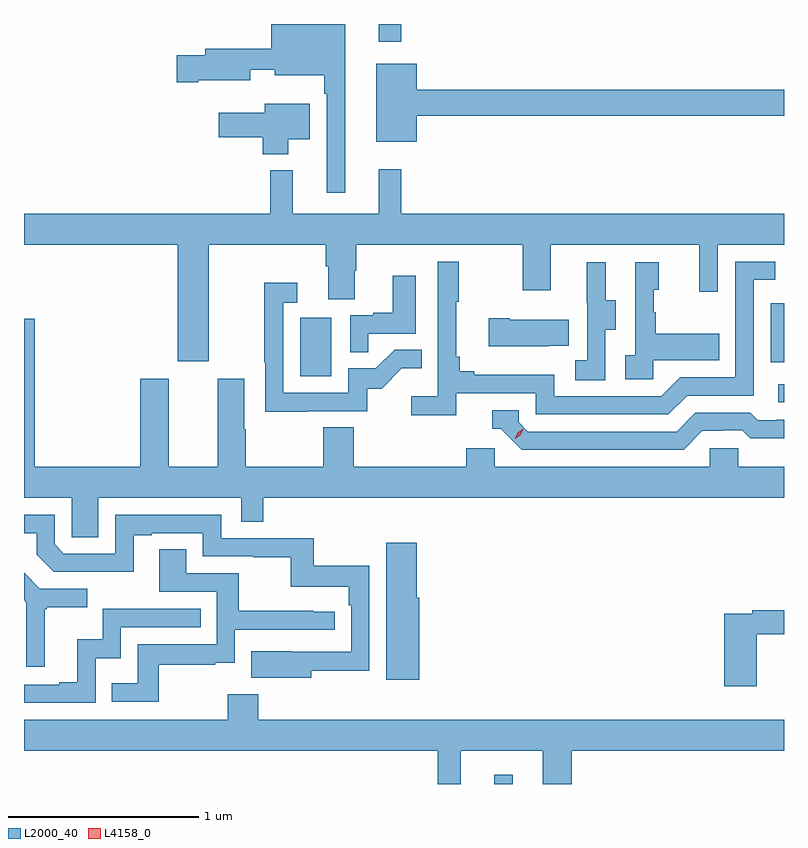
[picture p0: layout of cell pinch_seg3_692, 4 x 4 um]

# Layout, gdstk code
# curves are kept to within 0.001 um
import gdstk
lib = gdstk.Library(unit=1e-6, precision=1e-09)
def R(c, l, rs):  # rectangles x0, y0, x1, y1
    for r in rs: c.add(gdstk.rectangle(r[:2], r[2:], *l))
def P(c, l, *ps):  # polygons
    for p in ps: c.add(gdstk.Polygon(p, *l))
L2000_40 = (2000, 40)
L4158_0 = (4158, 0)

pinch_seg3_692 = lib.new_cell('pinch_seg3_692')
R(pinch_seg3_692, L2000_40, [(1104.068,680.762,1104.166,680.812), (1105.563,682.77,1105.594,682.866), (1103.048,682.908,1103.212,683.215), (1105.524,682.983,1105.594,683.292), (1103.462,684.669,1103.579,684.762)])
P(pinch_seg3_692, L2000_40, [(1103.284,684.76),(1103.023,684.76),(1103.023,684.762),(1102.894,684.762),(1102.894,684.631),(1102.547,684.631),(1102.547,684.597),(1102.398,684.597),(1102.398,684.455),(1102.51,684.455),(1102.51,684.467),(1102.786,684.467),(1102.786,684.521),(1102.913,684.521),(1102.913,684.491),(1103.175,684.491),(1103.175,684.395),(1103.187,684.395),(1103.187,683.874),(1103.284,683.874)],
  [(1103.662,684.28),(1105.594,684.28),(1105.594,684.416),(1103.662,684.416),(1103.662,684.553),(1103.447,684.553),(1103.447,684.143),(1103.662,684.143)],
  [(1102.984,684.155),(1103.098,684.155),(1103.098,684.343),(1102.862,684.343),(1102.862,684.295),(1102.62,684.295),(1102.62,684.166),(1102.85,684.166),(1102.85,684.077),(1102.984,684.077)],
  [(1102.567,683.6),(1103.183,683.6),(1103.183,683.488),(1103.195,683.488),(1103.195,683.314),(1103.335,683.314),(1103.335,683.463),(1103.343,683.463),(1103.343,683.6),(1104.22,683.6),(1104.22,683.361),(1104.367,683.361),(1104.367,683.6),(1105.148,683.6),(1105.148,683.352),(1105.245,683.352),(1105.245,683.6),(1105.594,683.6),(1105.594,683.764),(1103.579,683.764),(1103.579,683.998),(1103.462,683.998),(1103.462,683.764),(1103.009,683.764),(1103.009,683.992),(1102.891,683.992),(1102.891,683.764),(1101.594,683.764),(1101.594,683.6),(1102.403,683.6),(1102.403,682.986),(1102.567,682.986)],
  [(1103.87,682.818),(1104.288,682.818),(1104.288,682.707),(1104.985,682.707),(1105.084,682.806),(1105.434,682.806),(1105.434,683.415),(1105.547,683.415),(1105.547,683.511),(1105.338,683.511),(1105.338,682.902),(1105.047,682.902),(1104.948,682.803),(1104.384,682.803),(1104.384,682.915),(1103.965,682.915),(1103.965,682.934),(1103.888,682.934),(1103.888,683.011),(1103.869,683.011),(1103.869,683.299),(1103.881,683.299),(1103.881,683.512),(1103.772,683.512),(1103.772,682.804),(1103.631,682.804),(1103.631,682.702),(1103.87,682.702)],
  [(1104.654,683.152),(1104.709,683.152),(1104.709,683.307),(1104.655,683.307),(1104.655,683.509),(1104.557,683.509),(1104.557,683.295),(1104.558,683.295),(1104.558,682.991),(1104.495,682.991),(1104.495,682.888),(1104.654,682.888)],
  [(1104.906,682.991),(1105.253,682.991),(1105.253,683.131),(1104.919,683.131),(1104.919,683.246),(1104.909,683.246),(1104.909,683.364),(1104.934,683.364),(1104.934,683.509),(1104.81,683.509),(1104.81,683.018),(1104.759,683.018),(1104.759,682.893),(1104.906,682.893)],
  [(1103.405,683.133),(1103.656,683.133),(1103.656,683.437),(1103.534,683.437),(1103.534,683.242),(1103.431,683.242),(1103.431,683.229),(1103.31,683.229),(1103.31,683.035),(1103.405,683.035)],
  [(1103.081,682.725),(1103.4,682.725),(1103.4,682.842),(1103.476,682.842),(1103.583,682.949),(1103.687,682.949),(1103.687,683.048),(1103.544,683.048),(1103.446,682.95),(1103.301,682.95),(1103.301,682.821),(1102.959,682.821),(1102.959,683.295),(1103.032,683.295),(1103.032,683.401),(1102.858,683.401),(1102.858,682.981),(1102.863,682.981),(1102.863,682.72),(1103.081,682.72)],
  [(1104.353,683.069),(1104.461,683.069),(1104.461,683.206),(1104.151,683.206),(1104.151,683.214),(1104.039,683.214),(1104.039,683.066),(1104.353,683.066)],
  [(1101.985,682.268),(1102.737,682.268),(1102.737,682.141),(1102.853,682.141),(1102.853,682.268),(1105.594,682.268),(1105.594,682.432),(1105.353,682.432),(1105.353,682.53),(1105.203,682.53),(1105.203,682.432),(1104.072,682.432),(1104.072,682.53),(1103.921,682.53),(1103.921,682.432),(1103.33,682.432),(1103.33,682.64),(1103.17,682.64),(1103.17,682.432),(1102.761,682.432),(1102.761,682.628),(1102.753,682.628),(1102.753,682.894),(1102.613,682.894),(1102.613,682.432),(1102.357,682.432),(1102.357,682.894),(1102.205,682.894),(1102.205,682.432),(1101.65,682.432),(1101.65,683.212),(1101.594,683.212),(1101.594,682.268),(1101.846,682.268),(1101.846,682.06),(1101.985,682.06)],
  [(1105.165,682.62),(1105.272,682.62),(1105.272,682.623),(1105.375,682.623),(1105.417,682.581),(1105.594,682.581),(1105.594,682.68),(1105.555,682.68),(1105.555,682.677),(1105.456,682.677),(1105.417,682.716),(1105.128,682.716),(1105.029,682.617),(1104.246,682.617),(1104.198,682.665),(1104.198,682.728),(1104.059,682.728),(1104.059,682.632),(1104.102,682.632),(1104.213,682.521),(1105.066,682.521)],
  [(1103.107,681.358),(1103.412,681.358),(1103.412,681.91),(1103.119,681.91),(1103.119,682.056),(1102.632,682.056),(1102.632,682.179),(1102.074,682.179),(1102.074,681.975),(1101.804,681.975),(1101.756,682.023),(1101.756,682.179),(1101.594,682.179),(1101.594,682.083),(1101.66,682.083),(1101.66,681.969),(1101.75,681.879),(1102.171,681.878),(1102.171,682.071),(1102.267,682.071),(1102.267,682.083),(1102.536,682.083),(1102.536,681.96),(1102.801,681.96),(1102.801,681.955),(1102.998,681.955),(1102.998,681.8),(1103.303,681.8),(1103.303,681.704),(1103.316,681.704),(1103.316,681.459),(1102.789,681.46),(1102.789,681.32),(1103.107,681.32)],
  [(1103.674,681.741),(1103.662,681.741),(1103.662,682.033),(1103.501,682.033),(1103.501,681.312),(1103.674,681.312)],
  [(1102.303,681.39),(1102.601,681.39),(1102.601,681.401),(1102.704,681.401),(1102.704,681.573),(1103.23,681.573),(1103.23,681.669),(1103.117,681.669),(1103.117,681.674),(1102.724,681.674),(1102.724,681.87),(1102.447,681.87),(1102.447,681.998),(1102.307,681.998),(1102.307,681.774),(1102.608,681.774),(1102.608,681.498),(1102.192,681.498),(1102.192,681.292),(1102.057,681.292),(1102.057,681.195),(1102.303,681.195)],
  [(1101.703,681.681),(1101.715,681.681),(1101.715,681.692),(1101.928,681.692),(1101.928,681.789),(1101.678,681.789),(1101.594,681.873),(1101.594,681.729),(1101.606,681.717),(1101.606,681.378),(1101.703,681.378)],
  [(1101.972,681.425),(1102.104,681.425),(1102.104,681.588),(1102.523,681.588),(1102.523,681.684),(1102.008,681.684),(1102.008,681.523),(1101.875,681.523),(1101.875,681.298),(1101.779,681.298),(1101.779,681.285),(1101.594,681.285),(1101.594,681.189),(1101.972,681.189)],
  [(1105.45,681.549),(1105.594,681.549),(1105.594,681.677),(1105.426,681.677),(1105.426,681.657),(1105.28,681.657),(1105.28,681.276),(1105.45,681.276)],
  [(1103.893,680.936),(1104.323,680.936),(1104.323,680.762),(1104.476,680.762),(1104.476,680.936),(1105.594,680.936),(1105.594,681.1),(1102.826,681.1),(1102.826,681.235),(1102.666,681.235),(1102.666,681.1),(1101.594,681.1),(1101.594,680.936),(1103.772,680.936),(1103.772,680.762),(1103.893,680.762)])
P(pinch_seg3_692, L4158_0, [(1104.176,682.578),(1104.176,682.578),(1104.192,682.611),(1104.222,682.631),(1104.222,682.631),(1104.222,682.631),(1104.207,682.598),(1104.176,682.578)])

lib.write_gds('pinch_seg3_692.gds')
